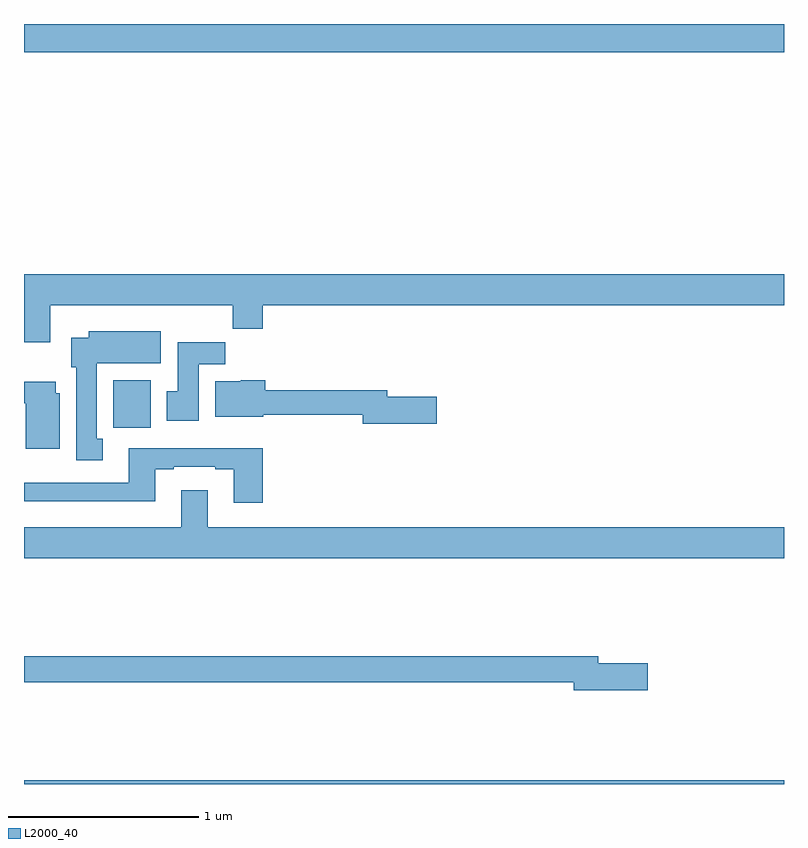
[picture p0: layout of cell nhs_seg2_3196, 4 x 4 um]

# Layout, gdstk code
import gdstk
lib = gdstk.Library(unit=1e-6, precision=1e-09)
def R(c, l, rs):  # rectangles x0, y0, x1, y1
    for r in rs: c.add(gdstk.rectangle(r[:2], r[2:], *l))
def P(c, l, *ps):  # polygons
    for p in ps: c.add(gdstk.Polygon(p, *l))
L2000_40 = (2000, 40)

nhs_seg2_3196 = lib.new_cell('nhs_seg2_3196')
R(nhs_seg2_3196, L2000_40, [(279,627.8,283,627.82), (279.471,629.676,279.667,629.926), (279,631.652,283,631.8)])
P(nhs_seg2_3196, L2000_40, [(279.139,630.32),(280.099,630.32),(280.099,630.196),(280.256,630.196),(280.256,630.32),(283,630.32),(283,630.484),(279,630.484),(279,630.126),(279.139,630.126)],
  [(279.415,629.617),(279.382,629.617),(279.382,630.014),(279.721,630.014),(279.721,630.184),(279.341,630.184),(279.341,630.148),(279.248,630.148),(279.248,629.994),(279.275,629.994),(279.275,629.505),(279.415,629.505)],
  [(279.919,630.008),(280.058,630.008),(280.058,630.126),(279.809,630.126),(279.809,629.868),(279.752,629.868),(279.752,629.712),(279.919,629.712)],
  [(281.173,629.838),(280.912,629.838),(280.912,629.872),(280.271,629.872),(280.271,629.926),(280.14,629.926),(280.14,629.92),(280.007,629.92),(280.007,629.732),(280.258,629.732),(280.258,629.743),(280.784,629.743),(280.784,629.696),(281.173,629.696)],
  [(279.187,629.856),(279.166,629.856),(279.166,629.917),(279,629.917),(279,629.804),(279.008,629.804),(279.008,629.564),(279.187,629.564)],
  [(280.256,629.566),(279.551,629.566),(279.551,629.385),(279,629.385),(279,629.288),(279.691,629.288),(279.691,629.457),(279.787,629.457),(279.787,629.469),(280.007,629.469),(280.007,629.457),(280.103,629.457),(280.103,629.28),(280.256,629.28)],
  [(283,629.152),(279.967,629.152),(279.967,629.347),(279.827,629.347),(279.827,629.152),(279,629.152),(279,628.988),(283,628.988)],
  [(282.283,628.436),(282.022,628.436),(282.022,628.472),(279,628.472),(279,628.336),(281.894,628.336),(281.894,628.294),(282.283,628.294)])

lib.write_gds('nhs_seg2_3196.gds')
